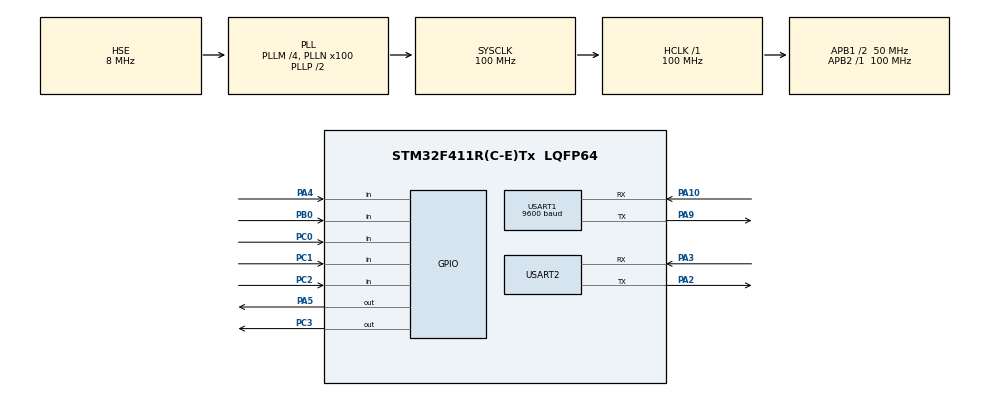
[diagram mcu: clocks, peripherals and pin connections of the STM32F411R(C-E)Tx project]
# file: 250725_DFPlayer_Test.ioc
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Mcu.Family=STM32F4
Mcu.Name=STM32F411R(C-E)Tx
Mcu.Package=LQFP64
NVIC.PriorityGroup=NVIC_PRIORITYGROUP_4
NVIC.TIM2_IRQn=true\:0\:0\:false\:false\:true\:true\:true\:true
PA10.Mode=Asynchronous
PA10.Signal=USART1_RX
PA13.Mode=Serial_Wire
PA13.Signal=SYS_JTMS-SWDIO
PA14.Mode=Serial_Wire
PA14.Signal=SYS_JTCK-SWCLK
PA2.Mode=Asynchronous
PA2.Signal=USART2_TX
PA3.Mode=Asynchronous
PA3.Signal=USART2_RX
PA4.Signal=GPIO_Input
PA5.Signal=GPIO_Output
PA9.Mode=Asynchronous
PA9.Signal=USART1_TX
PB0.Signal=GPIO_Input
PC0.Signal=GPIO_Input
PC1.Signal=GPIO_Input
PC2.Signal=GPIO_Input
PC3.Signal=GPIO_Output
PH0\ -\ OSC_IN.Mode=HSE-External-Oscillator
PH0\ -\ OSC_IN.Signal=RCC_OSC_IN
PH1\ -\ OSC_OUT.Mode=HSE-External-Oscillator
PH1\ -\ OSC_OUT.Signal=RCC_OSC_OUT
ProjectManager.HeapSize=0x200
ProjectManager.StackSize=0x400
ProjectManager.TargetToolchain=STM32CubeIDE
RCC.48MHZClocksFreq_Value=50000000
RCC.AHBFreq_Value=100000000
RCC.APB1CLKDivider=RCC_HCLK_DIV2
RCC.APB1Freq_Value=50000000
RCC.APB1TimFreq_Value=100000000
RCC.APB2Freq_Value=100000000
RCC.APB2TimFreq_Value=100000000
RCC.CortexFreq_Value=100000000
RCC.HCLKFreq_Value=100000000
RCC.HSE_VALUE=8000000
RCC.HSI_VALUE=16000000
RCC.LSE_VALUE=32768
RCC.PLLM=4
RCC.PLLN=100
RCC.PLLSourceVirtual=RCC_PLLSOURCE_HSE
RCC.SYSCLKFreq_VALUE=100000000
RCC.SYSCLKSource=RCC_SYSCLKSOURCE_PLLCLK
RCC.VCOOutputFreq_Value=200000000
TIM2.AutoReloadPreload=TIM_AUTORELOAD_PRELOAD_ENABLE
TIM2.Period=1000-1
TIM2.Prescaler=16-1
USART1.BaudRate=9600
USART1.VirtualMode=VM_ASYNC
USART2.VirtualMode=VM_ASYNC
VP_TIM2_VS_ClockSourceINT.Mode=Internal
board=custom

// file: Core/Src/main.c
/* USER CODE BEGIN Header */
/**
  ******************************************************************************
  * @file           : main.c
  * @brief          : Main program body
  ******************************************************************************
  * @attention
  *
  * Copyright (c) 2025 STMicroelectronics.
  * All rights reserved.
  *
  * This software is licensed under terms that can be found in the LICENSE file
  * in the root directory of this software component.
  * If no LICENSE file comes with this software, it is provided AS-IS.
  *
  ******************************************************************************
  */
/* USER CODE END Header */
#include "main.h"
#include "tim.h"
#include "usart.h"
#include "gpio.h"

/* USER CODE BEGIN Includes */
#include "DFPLAYER_MINI.h"
#include "Ultra.h"
#include "Button.h"
#include <stdio.h>
#include "string.h"
/* USER CODE END Includes */

void SystemClock_Config(void);

int main(void)
{

  /* MCU Configuration--------------------------------------------------------*/

  /* Reset of all peripherals, Initializes the Flash interface and the Systick. */
  HAL_Init();

  /* Configure the system clock */
  SystemClock_Config();

  /* Initialize all configured peripherals */
  MX_GPIO_Init();
  MX_TIM2_Init();
  MX_USART2_UART_Init();
  MX_USART1_UART_Init();
  /* USER CODE BEGIN 2 */

  //left
  Button_Init(&hBtnDo, GPIOC, GPIO_PIN_10);
  Button_Init(&hBtnRe, GPIOC, GPIO_PIN_12);
  Button_Init(&hBtnMi, GPIOA, GPIO_PIN_13);
  Button_Init(&hBtnPa, GPIOA, GPIO_PIN_14);
  //right
  Button_Init(&hBtnSol, GPIOC, GPIO_PIN_0);
  Button_Init(&hBtnLa, GPIOC, GPIO_PIN_1);
  Button_Init(&hBtnSi, GPIOB, GPIO_PIN_0);
  Button_Init(&hBtnDDO, GPIOA, GPIO_PIN_4);

  DF_Init(0x1E);

  //Initial 0001 mp3 sound
//  DF_PlayFromStart();

  /* USER CODE END 2 */

  /* Infinite loop */
  /* USER CODE BEGIN WHILE */
  while (1)
  {
//	  HAL_GPIO_WritePin(GPIOC, GPIO_PIN_3, RESET);
	  if(Button_GetState(&hBtnDo) == ACT_PUSHED){
		  Send_cmd(0x03, 0x00, 0x01);
	  }
	  else if(Button_GetState(&hBtnRe) == ACT_PUSHED){
		  Send_cmd(0x03, 0x00, 0x02);
	  }
	  else if(Button_GetState(&hBtnMi) == ACT_PUSHED){
		  Send_cmd(0x03, 0x00, 0x03);
	  }
	  else if(Button_GetState(&hBtnPa) == ACT_PUSHED){
		  Send_cmd(0x03, 0x00, 0x04);
	  }
	  else if(Button_GetState(&hBtnSol) == ACT_PUSHED){
		  Send_cmd(0x03, 0x00, 0x05);
	  }
	  else if(Button_GetState(&hBtnLa) == ACT_PUSHED){
		  Send_cmd(0x03, 0x00, 0x06);
	  }
	  else if(Button_GetState(&hBtnSi) == ACT_PUSHED){
		  Send_cmd(0x03, 0x00, 0x07);
	  }
	  else if(Button_GetState(&hBtnDDO) == ACT_PUSHED){
//		  HAL_GPIO_WritePin(GPIOC, GPIO_PIN_3, SET);
		  Send_cmd(0x03, 0x00, 0x08);
	  }

//	  Check_Key();

	  /// ultra callback
//	  Ultra_RunCallBack();
//
//      if(1 <= distance && distance < 5){
//    	  //play DO (play, 0000 file?
//    	  Send_cmd(0x03,0x00,0x00);
//      }
//      else if(5 <= distance && distance < 10){
//    	  //play RE (play, 0001 file)
//    	  Send_cmd(0x03,0x00,0x01);
//      }
//      else if(11 <= distance && distance < 15){
//    	  //play MI (play, 0002 file)
//    	  Send_cmd(0x03,0x00,0x02);
//      }
//      else if(15 <= distance && distance < 20){
//    	  //play PA (play, 0003 file)
//    	  Send_cmd(0x03,0x00,0x03);
//      }
//      else if(20 <= distance && distance < 25){
//    	  //play SOL (play, 0004 file)
//    	  Send_cmd(0x03,0x00,0x04);
//      }
//      else if(25 <= distance && distance < 30){
//    	  //play LA (play, 0005 file)
//    	  Send_cmd(0x03,0x00,0x05);
//      }
//      else if(30 <= distance && distance < 35){
//    	  //play SI (play, 0006 file)
//    	  Send_cmd(0x03,0x00,0x06);
//      }
//      else if(35 <= distance && distance < 40){
//    	  //play LA (play, 0007 file)
//    	  Send_cmd(0x03,0x00,0x07);
//      }
//
//	  char str[50];
//	  sprintf(str, "distance = %d \n", distance);
//	  HAL_UART_Transmit(&huart2, &str, strlen(str), 10);

//	  HAL_Delay(500);

    /* USER CODE END WHILE */

  }
}

void SystemClock_Config(void)
{
  RCC_OscInitTypeDef RCC_OscInitStruct = {0};
  RCC_ClkInitTypeDef RCC_ClkInitStruct = {0};

  /** Configure the main internal regulator output voltage
  */
  __HAL_RCC_PWR_CLK_ENABLE();
  __HAL_PWR_VOLTAGESCALING_CONFIG(PWR_REGULATOR_VOLTAGE_SCALE1);

  /** Initializes the RCC Oscillators according to the specified parameters
  * in the RCC_OscInitTypeDef structure.
  */
  RCC_OscInitStruct.OscillatorType = RCC_OSCILLATORTYPE_HSE;
  RCC_OscInitStruct.HSEState = RCC_HSE_ON;
  RCC_OscInitStruct.PLL.PLLState = RCC_PLL_ON;
  RCC_OscInitStruct.PLL.PLLSource = RCC_PLLSOURCE_HSE;
  RCC_OscInitStruct.PLL.PLLM = 4;
  RCC_OscInitStruct.PLL.PLLN = 100;
  RCC_OscInitStruct.PLL.PLLP = RCC_PLLP_DIV2;
  RCC_OscInitStruct.PLL.PLLQ = 4;
  if (HAL_RCC_OscConfig(&RCC_OscInitStruct) != HAL_OK)
  {
    Error_Handler();
  }

  /** Initializes the CPU, AHB and APB buses clocks
  */
  RCC_ClkInitStruct.ClockType = RCC_CLOCKTYPE_HCLK|RCC_CLOCKTYPE_SYSCLK
                              |RCC_CLOCKTYPE_PCLK1|RCC_CLOCKTYPE_PCLK2;
  RCC_ClkInitStruct.SYSCLKSource = RCC_SYSCLKSOURCE_PLLCLK;
  RCC_ClkInitStruct.AHBCLKDivider = RCC_SYSCLK_DIV1;
  RCC_ClkInitStruct.APB1CLKDivider = RCC_HCLK_DIV2;
  RCC_ClkInitStruct.APB2CLKDivider = RCC_HCLK_DIV1;

  if (HAL_RCC_ClockConfig(&RCC_ClkInitStruct, FLASH_LATENCY_3) != HAL_OK)
  {
    Error_Handler();
  }
}

/* USER CODE BEGIN 4 */
// ultra callback
//  void HAL_TIM_PeriodElapsedCallback(TIM_HandleTypeDef *htim)
// {
//  	if(htim->Instance == TIM2) {
//  		Ultra_RunCallBack();
//  	}
//  }
/* USER CODE END 4 */

void Error_Handler(void)
{
  __disable_irq();
  while (1)
  {
  }
}
